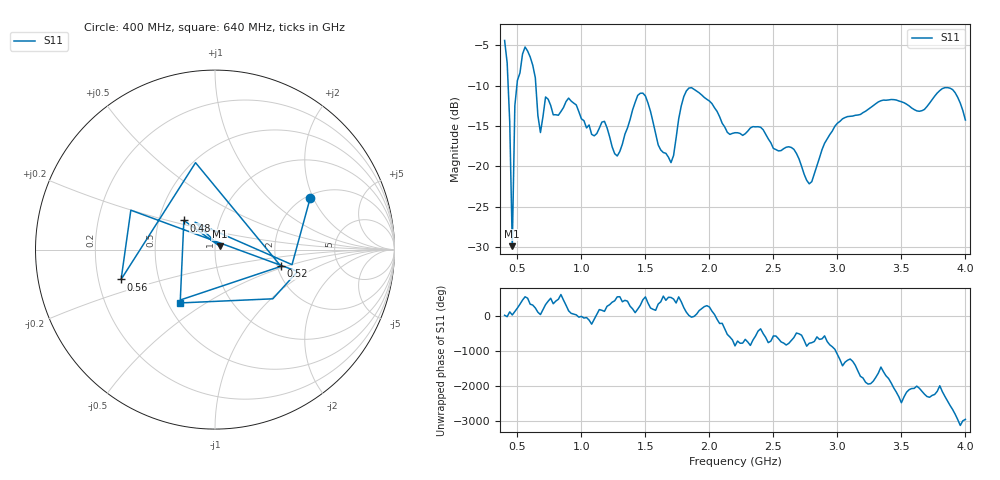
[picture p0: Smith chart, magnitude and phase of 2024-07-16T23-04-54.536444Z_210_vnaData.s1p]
!Created with skrf (http://scikit-rf.org).
# Hz S RI R 50.0
!freq ReS11 ImS11
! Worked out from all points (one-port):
!   181 points, 400 MHz to 4 GHz, reference 50 ohm
!   lowest |S11| = -29.9 dB at 460 MHz (marker M1), VSWR 1.07, Z = 52.6 + j2.03 ohm
!   |S11| at or under -10 dB: 427.7 MHz to 495.8 MHz (68.12 MHz wide, 14.8 % of centre); 644.2 MHz to end of sweep
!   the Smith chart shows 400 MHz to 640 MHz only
!   S11 on the Smith chart (normalised r, x): 400 MHz: 2.10, +1.89; 480 MHz: 0.67, +0.23; 520 MHz: 2.10, -0.46; 560 MHz: 0.30, -0.14; 640 MHz: 0.58, -0.39
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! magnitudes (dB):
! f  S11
! 400 MHz  -4.4
! 420 MHz  -7.2
! 440 MHz  -14.5
! 460 MHz  -29.9
! 480 MHz  -12.5
! 520 MHz  -8.4
! 560 MHz  -5.2
! 640 MHz  -9.0
! 680 MHz  -15.8
! 720 MHz  -11.4
! 780 MHz  -13.6
! 860 MHz  -12.7
! 960 MHz  -12.4
! 1.1 GHz  -16.2
! 1.18 GHz  -14.4
! 1.3 GHz  -18.1
! 1.46 GHz  -10.9
! 1.7 GHz  -19.5
! 1.76 GHz  -14.1
! 1.86 GHz  -10.2
! 2.2 GHz  -15.8
! 2.66 GHz  -17.9
! 2.78 GHz  -22.2
! 2.94 GHz  -16.1
! 3.1 GHz  -13.8
! 3.56 GHz  -12.5
! 3.88 GHz  -10.3
! 4 GHz  -14.3
